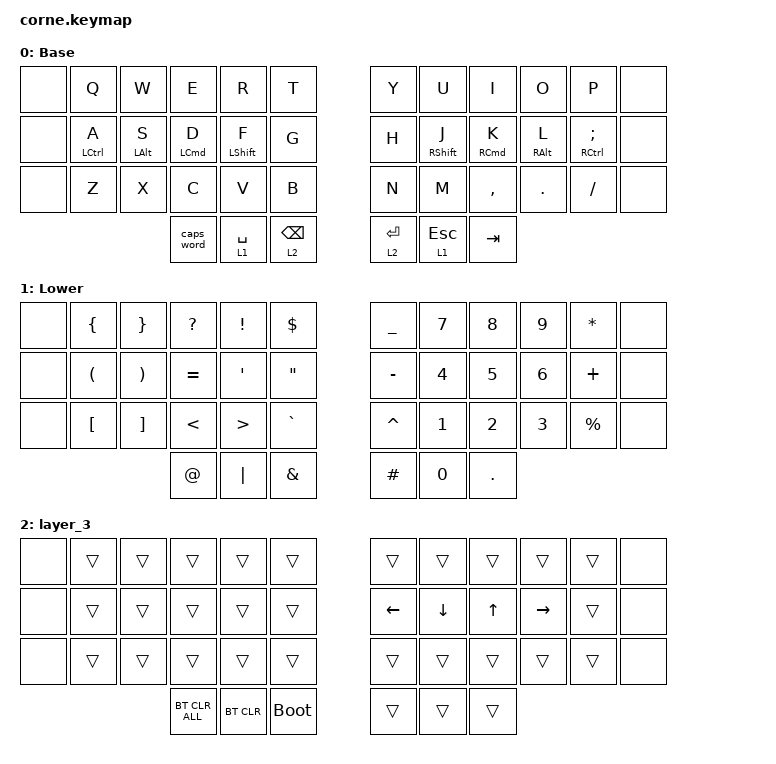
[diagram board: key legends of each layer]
/*
 * Copyright (c) 2020 The ZMK Contributors
 *
 * SPDX-License-Identifier: MIT
 */

#include <behaviors.dtsi>
#include <dt-bindings/zmk/bt.h>
#include <dt-bindings/zmk/keys.h>

/ {
    behaviors {
        htp: htp {
            compatible = "zmk,behavior-hold-tap";
            label = "HOLD_TAP_BALANCED";
            #binding-cells = <2>;
            tapping-term-ms = <200>;
            bindings = <&kp>, <&kp>;

            flavor = "balanced";
        };
    };

    keymap {
        compatible = "zmk,keymap";

        default_layer {
            // -----------------------------------------------------------------------------------------
            // |  TAB |  Q  |  W  |  E  |  R  |  T  |   |  Y  |  U   |  I  |  O  |  P  | BKSP |
            // | CTRL |  A  |  S  |  D  |  F  |  G  |   |  H  |  J   |  K  |  L  |  ;  |  '   |
            // | SHFT |  Z  |  X  |  C  |  V  |  B  |   |  N  |  M   |  ,  |  .  |  /  | ESC  |
            //                    | GUI | LWR | SPC |   | ENT | RSE  | ALT |

            label = "Base";
            bindings = <
&none  &kp Q                &kp W            &kp E                &kp R              &kp T              &kp Y        &kp U               &kp I                 &kp O             &kp P                         &none
&none  &htp LEFT_CONTROL A  &htp LEFT_ALT S  &htp LEFT_COMMAND D  &htp LEFT_SHIFT F  &kp G              &kp H        &htp RIGHT_SHIFT J  &htp RIGHT_COMMAND K  &htp RIGHT_ALT L  &htp RIGHT_CONTROL SEMICOLON  &none
&none  &kp Z                &kp X            &kp C                &kp V              &kp B              &kp N        &kp M               &kp COMMA             &kp DOT           &kp FSLH                      &none
                                             &caps_word           &lt 1 SPACE        &lt 2 BACKSPACE    &lt 2 ENTER  &lt 1 ESCAPE        &kp TAB
            >;
        };

        lower_layer {
            // -----------------------------------------------------------------------------------------
            // |  TAB |  1  |  2  |  3  |  4  |  5  |   |  6  |  7  |  8  |  9  |  0  | BKSP |
            // | BTCLR| BT1 | BT2 | BT3 | BT4 | BT5 |   | LFT | DWN |  UP | RGT |     |      |
            // | SHFT |     |     |     |     |     |   |     |     |     |     |     |      |
            //                    | GUI |     | SPC |   | ENT |     | ALT |

            label = "Lower";
            bindings = <
&none  &kp LEFT_BRACE        &kp RIGHT_BRACE        &kp QUESTION   &kp EXCLAMATION   &kp DOLLAR           &kp UNDERSCORE  &kp N7        &kp N8        &kp N9        &kp ASTERISK  &none
&none  &kp LEFT_PARENTHESIS  &kp RIGHT_PARENTHESIS  &kp EQUAL      &kp SQT           &kp DOUBLE_QUOTES    &kp MINUS       &kp NUMBER_4  &kp NUMBER_5  &kp NUMBER_6  &kp PLUS      &none
&none  &kp LEFT_BRACKET      &kp RIGHT_BRACKET      &kp LESS_THAN  &kp GREATER_THAN  &kp GRAVE            &kp CARET       &kp NUMBER_1  &kp NUMBER_2  &kp NUMBER_3  &kp PERCENT   &none
                                                    &kp AT         &kp PIPE          &kp AMPERSAND        &kp HASH        &kp NUMBER_0  &kp DOT
            >;
        };

        layer_3 {
            bindings = <
&none  &trans  &trans  &trans          &trans      &trans         &trans    &trans    &trans        &trans     &trans  &none
&none  &trans  &trans  &trans          &trans      &trans         &kp LEFT  &kp DOWN  &kp UP_ARROW  &kp RIGHT  &trans  &none
&none  &trans  &trans  &trans          &trans      &trans         &trans    &trans    &trans        &trans     &trans  &none
                       &bt BT_CLR_ALL  &bt BT_CLR  &bootloader    &trans    &trans    &trans
            >;
        };
    };
};
